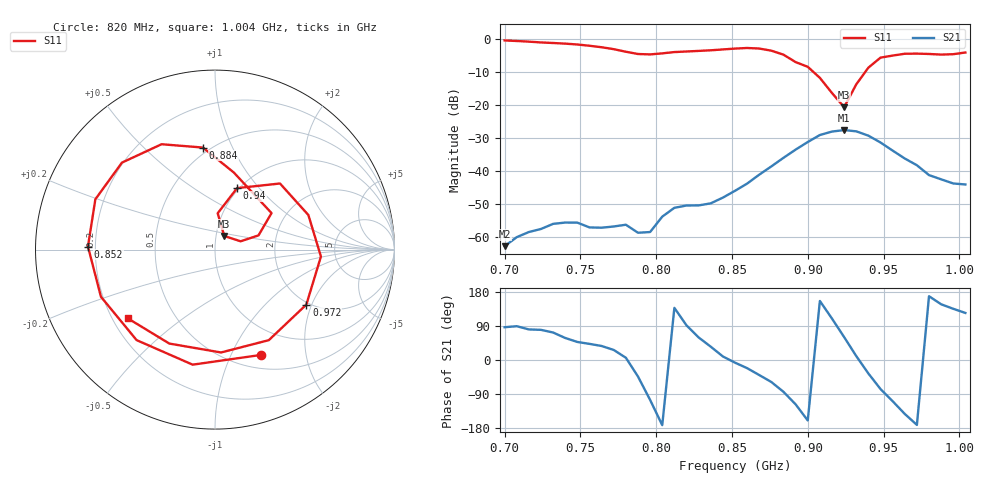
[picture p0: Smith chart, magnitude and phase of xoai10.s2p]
# Hz S RI R 50
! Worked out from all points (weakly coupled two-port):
!   39 points, 700 MHz to 1.004 GHz, reference 50 ohm
!   highest |S21| = -27.71 dB at 924 MHz (marker M1); lowest = -62.9 dB at 700 MHz (marker M2)
!   lowest |S11| = -20.8 dB at 924 MHz (marker M3), VSWR 1.20, Z = 54.8 + j8.37 ohm
!   |S11| at or under -10 dB: 903.5 MHz to 938.1 MHz (34.54 MHz wide, 3.75 % of centre)
!   S12 and S22 are empty: the file has one direction only
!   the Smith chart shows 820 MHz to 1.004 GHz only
!   S11 on the Smith chart (normalised r, x): 820 MHz: 0.66, -1.30; 852 MHz: 0.17, +0.01; 884 MHz: 0.46, +0.78; 940 MHz: 0.98, +0.77; 972 MHz: 1.93, -1.83; 1.004 GHz: 0.26, -0.33
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7e8  0.7606 0.5534  4.41e-05 0.000715  0 0  0 0
7.24e8  0.8423 -0.2456  0.000236 0.00128  0 0  0 0
7.4e8  0.4581 -0.706  0.000862 0.00139  0 0  0 0
7.56e8  -0.1973 -0.7564  0.00102 0.000932  0 0  0 0
7.72e8  -0.6674 -0.1912  0.00127 0.000635  0 0  0 0
7.8e8  -0.5891 0.2351  0.00151 0.000157  0 0  0 0
7.88e8  -0.232 0.5382  0.000828 -0.000789  0 0  0 0
7.96e8  0.2573 0.5176  -0.000311 -0.00113  0 0  0 0
8.04e8  0.5786 0.1565  -0.00199 -0.000281  0 0  0 0
8.2e8  0.2549 -0.5871  -7.32e-05 0.00296  0 0  0 0
8.36e8  -0.4368 -0.5043  0.00261 0.00184  0 0  0 0
8.52e8  -0.7079 0.0172  0.00491 -0.000607  0 0  0 0
8.68e8  -0.5183 0.4847  0.00669 -0.00555  0 0  0 0
8.84e8  -0.0672 0.5686  0.00162 -0.0156  0 0  0 0
9e8  0.3151 0.2033  -0.0254 -0.00949  0 0  0 0
9.08e8  0.2423 0.0791  -0.0316 0.0142  0 0  0 0
9.24e8  0.0514 0.0758  0.0203 0.0358  0 0  0 0
9.4e8  0.1232 0.3426  0.0276 -0.0197  0 0  0 0
9.56e8  0.5203 0.1926  -0.00646 -0.0191  0 0  0 0
9.72e8  0.5089 -0.3065  -0.0119 -0.00183  0 0  0 0
9.88e8  0.0337 -0.5732  -0.0062 0.00401  0 0  0 0
1.004e9  -0.4845 -0.3837  -0.00346 0.00511  0 0  0 0
